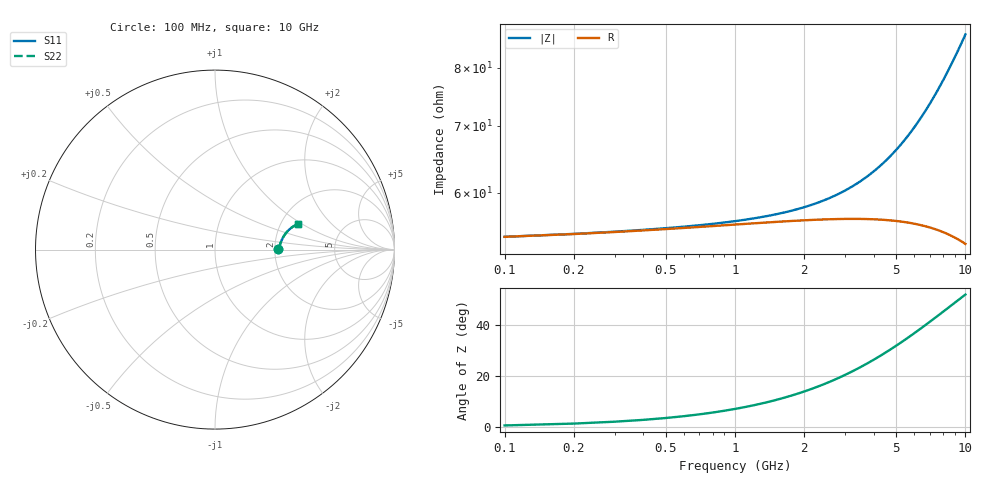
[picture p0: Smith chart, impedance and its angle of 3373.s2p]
# Hz S RI R 50.00
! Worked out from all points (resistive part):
!   100 points, 100 MHz to 10 GHz, reference 50 ohm
!   read as one part in series: R = 54.2 ohm at 100 MHz
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1e8  0.3516 0.00202  0.6484 -0.00369  0.6484 -0.00369  0.3516 0.00202
2e8  0.3531 0.00401  0.6468 -0.00735  0.6468 -0.00735  0.3531 0.00401
3e8  0.3543 0.00598  0.6457 -0.011  0.6457 -0.011  0.3543 0.00598
5e8  0.356 0.0099  0.6439 -0.0182  0.6439 -0.0182  0.356 0.0099
1e9  0.3595 0.0195  0.6404 -0.0362  0.6404 -0.0362  0.3595 0.0195
1.8e9  0.3645 0.0345  0.635 -0.0646  0.635 -0.0646  0.3645 0.0345
2.2e9  0.3672 0.0419  0.632 -0.0786  0.632 -0.0786  0.3672 0.0419
2.6e9  0.3701 0.0491  0.6288 -0.0925  0.6288 -0.0925  0.3701 0.0491
3e9  0.3732 0.0561  0.6253 -0.1062  0.6253 -0.1062  0.3732 0.0561
3.4e9  0.3766 0.063  0.6215 -0.1198  0.6215 -0.1198  0.3766 0.063
3.8e9  0.3802 0.0697  0.6173 -0.1332  0.6173 -0.1332  0.3802 0.0697
4.2e9  0.3841 0.0762  0.6129 -0.1464  0.6129 -0.1464  0.3841 0.0762
4.6e9  0.3882 0.0825  0.6082 -0.1595  0.6082 -0.1595  0.3882 0.0825
5.1e9  0.3938 0.0901  0.6018 -0.1755  0.6018 -0.1755  0.3938 0.0901
5.9e9  0.4034 0.1016  0.5907 -0.2004  0.5907 -0.2004  0.4034 0.1016
6.7e9  0.4139 0.112  0.5784 -0.2243  0.5784 -0.2243  0.4139 0.112
7.2e9  0.4209 0.118  0.5702 -0.2387  0.5702 -0.2387  0.4209 0.118
7.6e9  0.4267 0.1224  0.5634 -0.25  0.5634 -0.25  0.4267 0.1224
8.4e9  0.4387 0.1305  0.5491 -0.2717  0.5491 -0.2717  0.4387 0.1305
9.2e9  0.4514 0.1374  0.5341 -0.2922  0.5341 -0.2922  0.4514 0.1374
9.6e9  0.4578 0.1405  0.5263 -0.3021  0.5263 -0.3021  0.4578 0.1405
1e10  0.4644 0.1432  0.5183 -0.3117  0.5183 -0.3117  0.4644 0.1432
